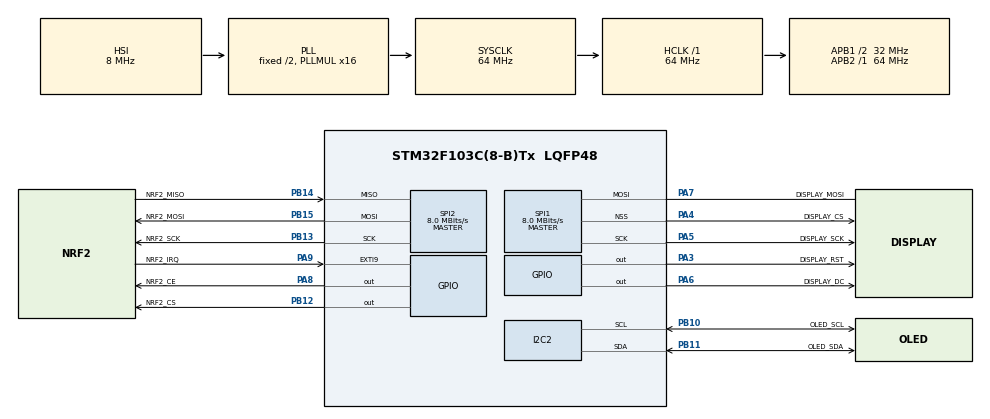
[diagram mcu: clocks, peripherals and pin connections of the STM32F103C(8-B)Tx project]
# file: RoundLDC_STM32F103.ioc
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Dma.MEMTOMEM.1.Direction=DMA_MEMORY_TO_MEMORY
Dma.MEMTOMEM.1.Instance=DMA1_Channel1
Dma.MEMTOMEM.1.MemDataAlignment=DMA_MDATAALIGN_BYTE
Dma.MEMTOMEM.1.MemInc=DMA_MINC_ENABLE
Dma.MEMTOMEM.1.Mode=DMA_NORMAL
Dma.MEMTOMEM.1.PeriphDataAlignment=DMA_PDATAALIGN_BYTE
Dma.MEMTOMEM.1.PeriphInc=DMA_PINC_ENABLE
Dma.MEMTOMEM.1.Priority=DMA_PRIORITY_VERY_HIGH
Dma.Request0=SPI1_TX
Dma.Request1=MEMTOMEM
Dma.SPI1_TX.0.Direction=DMA_MEMORY_TO_PERIPH
Dma.SPI1_TX.0.Instance=DMA1_Channel3
Dma.SPI1_TX.0.MemDataAlignment=DMA_MDATAALIGN_BYTE
Dma.SPI1_TX.0.MemInc=DMA_MINC_ENABLE
Dma.SPI1_TX.0.Mode=DMA_NORMAL
Dma.SPI1_TX.0.PeriphDataAlignment=DMA_PDATAALIGN_BYTE
Dma.SPI1_TX.0.PeriphInc=DMA_PINC_DISABLE
Dma.SPI1_TX.0.Priority=DMA_PRIORITY_LOW
Mcu.Family=STM32F1
Mcu.Name=STM32F103C(8-B)Tx
Mcu.Package=LQFP48
NVIC.DMA1_Channel3_IRQn=true\:0\:0\:false\:false\:true\:false\:true\:true
NVIC.EXTI9_5_IRQn=true\:0\:0\:false\:false\:true\:true\:true\:true
NVIC.PriorityGroup=NVIC_PRIORITYGROUP_4
NVIC.SPI1_IRQn=true\:0\:0\:false\:false\:true\:true\:true\:true
PA13.Mode=Serial_Wire
PA13.Signal=SYS_JTMS-SWDIO
PA14.Mode=Serial_Wire
PA14.Signal=SYS_JTCK-SWCLK
PA3.GPIO_Label=DISPLAY_RST
PA3.Signal=GPIO_Output
PA4.GPIO_Label=DISPLAY_CS
PA4.Mode=NSS_Signal_Hard_Output
PA4.Signal=SPI1_NSS
PA5.GPIO_Label=DISPLAY_SCK
PA5.Mode=Simplex_Bidirectional_Master
PA5.Signal=SPI1_SCK
PA6.GPIO_Label=DISPLAY_DC
PA6.Signal=GPIO_Output
PA7.GPIO_Label=DISPLAY_MOSI
PA7.Mode=Simplex_Bidirectional_Master
PA7.Signal=SPI1_MOSI
PA8.GPIO_Label=NRF2_CE
PA8.Signal=GPIO_Output
PA9.GPIO_Label=NRF2_IRQ
PA9.GPIO_ModeDefaultEXTI=GPIO_MODE_IT_FALLING
PA9.Signal=GPXTI9
PB10.GPIO_Label=OLED_SCL
PB10.Mode=I2C
PB10.Signal=I2C2_SCL
PB11.GPIO_Label=OLED_SDA
PB11.Mode=I2C
PB11.Signal=I2C2_SDA
PB12.GPIO_Label=NRF2_CS
PB12.Signal=GPIO_Output
PB13.GPIO_Label=NRF2_SCK
PB13.Mode=Full_Duplex_Master
PB13.Signal=SPI2_SCK
PB14.GPIO_Label=NRF2_MISO
PB14.Mode=Full_Duplex_Master
PB14.Signal=SPI2_MISO
PB15.GPIO_Label=NRF2_MOSI
PB15.Mode=Full_Duplex_Master
PB15.Signal=SPI2_MOSI
ProjectManager.HeapSize=0x200
ProjectManager.StackSize=0x400
ProjectManager.TargetToolchain=STM32CubeIDE
RCC.AHBFreq_Value=64000000
RCC.APB1CLKDivider=RCC_HCLK_DIV2
RCC.APB1Freq_Value=32000000
RCC.APB1TimFreq_Value=64000000
RCC.APB2Freq_Value=64000000
RCC.APB2TimFreq_Value=64000000
RCC.HCLKFreq_Value=64000000
RCC.PLLMUL=RCC_PLL_MUL16
RCC.SYSCLKFreq_VALUE=64000000
RCC.SYSCLKSource=RCC_SYSCLKSOURCE_PLLCLK
RCC.USBFreq_Value=64000000
SPI1.BaudRatePrescaler=SPI_BAUDRATEPRESCALER_8
SPI1.CalculateBaudRate=8.0 MBits/s
SPI1.Direction=SPI_DIRECTION_1LINE
SPI1.Mode=SPI_MODE_MASTER
SPI1.VirtualNSS=VM_NSSHARD
SPI1.VirtualType=VM_MASTER
SPI2.BaudRatePrescaler=SPI_BAUDRATEPRESCALER_4
SPI2.CalculateBaudRate=8.0 MBits/s
SPI2.Direction=SPI_DIRECTION_2LINES
SPI2.Mode=SPI_MODE_MASTER
SPI2.VirtualType=VM_MASTER
board=custom

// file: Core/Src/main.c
/* USER CODE BEGIN Header */
/**
  ******************************************************************************
  * @file           : main.c
  * @brief          : Main program body
  ******************************************************************************
  * @attention
  *
  * Copyright (c) 2025 STMicroelectronics.
  * All rights reserved.
  *
  * This software is licensed under terms that can be found in the LICENSE file
  * in the root directory of this software component.
  * If no LICENSE file comes with this software, it is provided AS-IS.
  *
  ******************************************************************************
  */
/* USER CODE END Header */
#include "main.h"

/* USER CODE BEGIN Includes */
#include "math.h"
#include "GC9A01.h"
#include "hardware_config.h"
#include "string.h"
#include "ssd1306.h"
#include "ssd1306_fonts.h"
#include "nrf24l01p.h"
/* USER CODE END Includes */

/* USER CODE BEGIN PTD */
void HAL_GPIO_EXTI_Callback(uint16_t GPIO_Pin);
/* USER CODE END PTD */

I2C_HandleTypeDef hi2c2;

SPI_HandleTypeDef hspi1;
SPI_HandleTypeDef hspi2;
DMA_HandleTypeDef hdma_spi1_tx;

DMA_HandleTypeDef hdma_memtomem_dma1_channel1;

void SystemClock_Config(void);
static void MX_GPIO_Init(void);
static void MX_DMA_Init(void);
static void MX_SPI1_Init(void);
static void MX_I2C2_Init(void);
static void MX_SPI2_Init(void);

/* USER CODE BEGIN 0 */

static void drawBatterySymbol()
{
	ssd1306_DrawRectangle(0, 0, 20, 11, White);
	ssd1306_FillRectangle(20, 2, 22, 9, White);
	ssd1306_DrawRectangle(22, 3, 23, 8, White);
	ssd1306_SetCursor(1, 2);
	char test1[] = {"100"};
	char test2[] = {"20"};
	while(1)
	{
		ssd1306_DrawRectangle(0, 0, 20, 11, White);
		ssd1306_FillRectangle(20, 2, 22, 9, White);
		ssd1306_DrawRectangle(22, 3, 23, 8, White);
		ssd1306_SetCursor(1, 2);
		ssd1306_WriteString(test1, Font_6x8, White);
		ssd1306_UpdateScreen();
		ssd1306_Fill(Black);

		ssd1306_DrawRectangle(0, 0, 20, 11, White);
		ssd1306_FillRectangle(20, 2, 22, 9, White);
		ssd1306_DrawRectangle(22, 3, 23, 8, White);
		ssd1306_SetCursor(5, 2);
		ssd1306_WriteString(test2, Font_6x8, White);
		ssd1306_UpdateScreen();
		ssd1306_Fill(Black);
	}
}

/* USER CODE END 0 */

int main(void)
{

  /* MCU Configuration--------------------------------------------------------*/

  /* Reset of all peripherals, Initializes the Flash interface and the Systick. */
  HAL_Init();

  /* Configure the system clock */
  SystemClock_Config();

  /* Initialize all configured peripherals */
  MX_GPIO_Init();
  MX_DMA_Init();
  MX_SPI1_Init();
  MX_I2C2_Init();
  MX_SPI2_Init();
  /* USER CODE BEGIN 2 */
  //display_GC9A01_init(&gDisplayGCA01Init);
  //ssd1306_Init();
  //drawBatterySymbol();
  nrf24l01p_tx_init(2400, _250kbps);

  /* USER CODE END 2 */

  /* Infinite loop */
  /* USER CODE BEGIN WHILE */
  uint8_t tx_data[NRF24L01P_PAYLOAD_LENGTH] = {0, 1, 2, 3, 4, 5, 6, 7};
  uint8_t rx_data[NRF24L01P_PAYLOAD_LENGTH] = {};
  memset(rx_data, 0, sizeof(rx_data));
  while(1)
  {
	  // change tx datas
	  for(int i= 0; i < 8; i++)
		  tx_data[i]++;

	  // transmit
	  nrf24l01p_tx_transmit(tx_data);
	  HAL_Delay(100);

    /* USER CODE END WHILE */

  }
}

void SystemClock_Config(void)
{
  RCC_OscInitTypeDef RCC_OscInitStruct = {0};
  RCC_ClkInitTypeDef RCC_ClkInitStruct = {0};

  /** Initializes the RCC Oscillators according to the specified parameters
  * in the RCC_OscInitTypeDef structure.
  */
  RCC_OscInitStruct.OscillatorType = RCC_OSCILLATORTYPE_HSI;
  RCC_OscInitStruct.HSIState = RCC_HSI_ON;
  RCC_OscInitStruct.HSICalibrationValue = RCC_HSICALIBRATION_DEFAULT;
  RCC_OscInitStruct.PLL.PLLState = RCC_PLL_ON;
  RCC_OscInitStruct.PLL.PLLSource = RCC_PLLSOURCE_HSI_DIV2;
  RCC_OscInitStruct.PLL.PLLMUL = RCC_PLL_MUL16;
  if (HAL_RCC_OscConfig(&RCC_OscInitStruct) != HAL_OK)
  {
    Error_Handler();
  }

  /** Initializes the CPU, AHB and APB buses clocks
  */
  RCC_ClkInitStruct.ClockType = RCC_CLOCKTYPE_HCLK|RCC_CLOCKTYPE_SYSCLK
                              |RCC_CLOCKTYPE_PCLK1|RCC_CLOCKTYPE_PCLK2;
  RCC_ClkInitStruct.SYSCLKSource = RCC_SYSCLKSOURCE_PLLCLK;
  RCC_ClkInitStruct.AHBCLKDivider = RCC_SYSCLK_DIV1;
  RCC_ClkInitStruct.APB1CLKDivider = RCC_HCLK_DIV2;
  RCC_ClkInitStruct.APB2CLKDivider = RCC_HCLK_DIV1;

  if (HAL_RCC_ClockConfig(&RCC_ClkInitStruct, FLASH_LATENCY_2) != HAL_OK)
  {
    Error_Handler();
  }
}

static void MX_I2C2_Init(void)
{

  hi2c2.Instance = I2C2;
  hi2c2.Init.ClockSpeed = 100000;
  hi2c2.Init.DutyCycle = I2C_DUTYCYCLE_2;
  hi2c2.Init.OwnAddress1 = 0;
  hi2c2.Init.AddressingMode = I2C_ADDRESSINGMODE_7BIT;
  hi2c2.Init.DualAddressMode = I2C_DUALADDRESS_DISABLE;
  hi2c2.Init.OwnAddress2 = 0;
  hi2c2.Init.GeneralCallMode = I2C_GENERALCALL_DISABLE;
  hi2c2.Init.NoStretchMode = I2C_NOSTRETCH_DISABLE;
  if (HAL_I2C_Init(&hi2c2) != HAL_OK)
  {
    Error_Handler();
  }

}

static void MX_SPI1_Init(void)
{

  /* SPI1 parameter configuration*/
  hspi1.Instance = SPI1;
  hspi1.Init.Mode = SPI_MODE_MASTER;
  hspi1.Init.Direction = SPI_DIRECTION_1LINE;
  hspi1.Init.DataSize = SPI_DATASIZE_8BIT;
  hspi1.Init.CLKPolarity = SPI_POLARITY_LOW;
  hspi1.Init.CLKPhase = SPI_PHASE_1EDGE;
  hspi1.Init.NSS = SPI_NSS_HARD_OUTPUT;
  hspi1.Init.BaudRatePrescaler = SPI_BAUDRATEPRESCALER_8;
  hspi1.Init.FirstBit = SPI_FIRSTBIT_MSB;
  hspi1.Init.TIMode = SPI_TIMODE_DISABLE;
  hspi1.Init.CRCCalculation = SPI_CRCCALCULATION_DISABLE;
  hspi1.Init.CRCPolynomial = 10;
  if (HAL_SPI_Init(&hspi1) != HAL_OK)
  {
    Error_Handler();
  }

}

static void MX_SPI2_Init(void)
{

  /* SPI2 parameter configuration*/
  hspi2.Instance = SPI2;
  hspi2.Init.Mode = SPI_MODE_MASTER;
  hspi2.Init.Direction = SPI_DIRECTION_2LINES;
  hspi2.Init.DataSize = SPI_DATASIZE_8BIT;
  hspi2.Init.CLKPolarity = SPI_POLARITY_LOW;
  hspi2.Init.CLKPhase = SPI_PHASE_1EDGE;
  hspi2.Init.NSS = SPI_NSS_SOFT;
  hspi2.Init.BaudRatePrescaler = SPI_BAUDRATEPRESCALER_4;
  hspi2.Init.FirstBit = SPI_FIRSTBIT_MSB;
  hspi2.Init.TIMode = SPI_TIMODE_DISABLE;
  hspi2.Init.CRCCalculation = SPI_CRCCALCULATION_DISABLE;
  hspi2.Init.CRCPolynomial = 10;
  if (HAL_SPI_Init(&hspi2) != HAL_OK)
  {
    Error_Handler();
  }

}

static void MX_DMA_Init(void)
{

  /* DMA controller clock enable */
  __HAL_RCC_DMA1_CLK_ENABLE();

  /* Configure DMA request hdma_memtomem_dma1_channel1 on DMA1_Channel1 */
  hdma_memtomem_dma1_channel1.Instance = DMA1_Channel1;
  hdma_memtomem_dma1_channel1.Init.Direction = DMA_MEMORY_TO_MEMORY;
  hdma_memtomem_dma1_channel1.Init.PeriphInc = DMA_PINC_ENABLE;
  hdma_memtomem_dma1_channel1.Init.MemInc = DMA_MINC_ENABLE;
  hdma_memtomem_dma1_channel1.Init.PeriphDataAlignment = DMA_PDATAALIGN_BYTE;
  hdma_memtomem_dma1_channel1.Init.MemDataAlignment = DMA_MDATAALIGN_BYTE;
  hdma_memtomem_dma1_channel1.Init.Mode = DMA_NORMAL;
  hdma_memtomem_dma1_channel1.Init.Priority = DMA_PRIORITY_VERY_HIGH;
  if (HAL_DMA_Init(&hdma_memtomem_dma1_channel1) != HAL_OK)
  {
    Error_Handler( );
  }

  /* DMA interrupt init */
  /* DMA1_Channel3_IRQn interrupt configuration */
  HAL_NVIC_SetPriority(DMA1_Channel3_IRQn, 0, 0);
  HAL_NVIC_EnableIRQ(DMA1_Channel3_IRQn);

}

static void MX_GPIO_Init(void)
{
  GPIO_InitTypeDef GPIO_InitStruct = {0};

  /* GPIO Ports Clock Enable */
  __HAL_RCC_GPIOA_CLK_ENABLE();
  __HAL_RCC_GPIOB_CLK_ENABLE();

  /*Configure GPIO pin Output Level */
  HAL_GPIO_WritePin(GPIOA, DISPLAY_RST_Pin|DISPLAY_DC_Pin|NRF2_CE_Pin, GPIO_PIN_RESET);

  /*Configure GPIO pin Output Level */
  HAL_GPIO_WritePin(NRF2_CS_GPIO_Port, NRF2_CS_Pin, GPIO_PIN_RESET);

  /*Configure GPIO pins : DISPLAY_RST_Pin DISPLAY_DC_Pin NRF2_CE_Pin */
  GPIO_InitStruct.Pin = DISPLAY_RST_Pin|DISPLAY_DC_Pin|NRF2_CE_Pin;
  GPIO_InitStruct.Mode = GPIO_MODE_OUTPUT_PP;
  GPIO_InitStruct.Pull = GPIO_NOPULL;
  GPIO_InitStruct.Speed = GPIO_SPEED_FREQ_LOW;
  HAL_GPIO_Init(GPIOA, &GPIO_InitStruct);

  /*Configure GPIO pin : NRF2_CS_Pin */
  GPIO_InitStruct.Pin = NRF2_CS_Pin;
  GPIO_InitStruct.Mode = GPIO_MODE_OUTPUT_PP;
  GPIO_InitStruct.Pull = GPIO_NOPULL;
  GPIO_InitStruct.Speed = GPIO_SPEED_FREQ_LOW;
  HAL_GPIO_Init(NRF2_CS_GPIO_Port, &GPIO_InitStruct);

  /*Configure GPIO pin : NRF2_IRQ_Pin */
  GPIO_InitStruct.Pin = NRF2_IRQ_Pin;
  GPIO_InitStruct.Mode = GPIO_MODE_IT_FALLING;
  GPIO_InitStruct.Pull = GPIO_NOPULL;
  HAL_GPIO_Init(NRF2_IRQ_GPIO_Port, &GPIO_InitStruct);

  /* EXTI interrupt init*/
  HAL_NVIC_SetPriority(EXTI9_5_IRQn, 0, 0);
  HAL_NVIC_EnableIRQ(EXTI9_5_IRQn);

}

/* USER CODE BEGIN 4 */

void HAL_GPIO_EXTI_Callback(uint16_t GPIO_Pin)
{
	if(GPIO_Pin == NRF24L01P_IRQ_PIN_NUMBER)
		nrf24l01p_tx_irq(); // clear interrupt flag
}
/* USER CODE END 4 */

void Error_Handler(void)
{
  __disable_irq();
  while (1)
  {
  }
}
